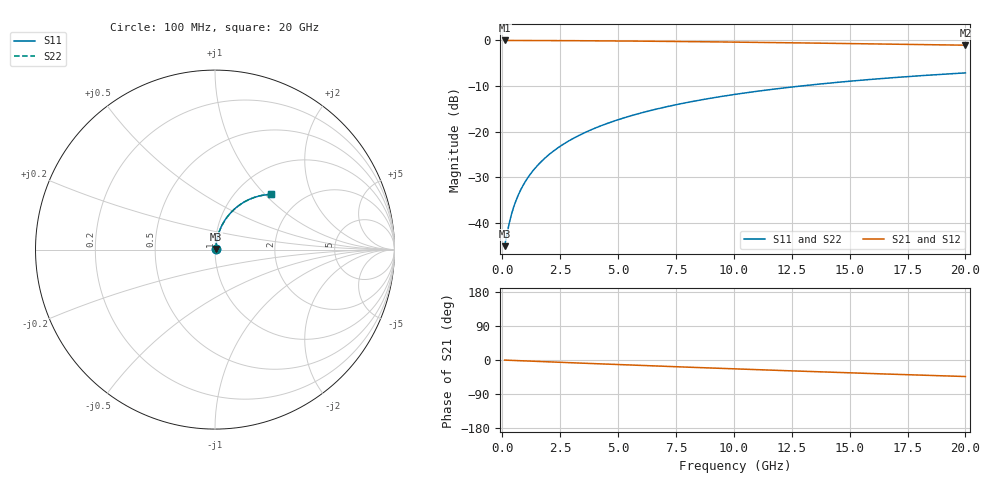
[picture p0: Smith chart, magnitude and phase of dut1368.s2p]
! Touchstone file exported from HFSS 2026.1.0
!  File:  C:/ffzhzh/LocalFiles/Ansys_Project_Files/temp_train_BSMRDL_1368_1783179318_18472.aedt
!  Generated:  11:36:30 PM Jul  4, 2026
!  Design:  BSMRDL
!  Project:  temp_train_BSMRDL_1368_1783179318_18472
! Variables:
!  h_bsmrdl = 4.33um
!  h_ox = 20um
!  h_rdl = 5um
!  h_sub = 80um
!  h_tmrdl = 5um
!  h_tsv = 80um
!  h_via = 3um
!  l_bsmrdl = 632.86um
!  l_sub = 1032.86um
!  l_tmrdl = 200um
!  m_sub = 200um
!  pitch = 34.94um
!  r_tsv = 6um
!  s_tmrdl = 10um
!  w_bsmrdl = 10.97um
!  w_sub = 500um
!  w_tmrdl = 12um
!  x_tsv_center1 = 206um
!  x_tsv_center2 = 849.83um
!  x_tsv_center3 = 1061.83um
!  x_tsv_center4 = 1705.66um
!  x_tsv_center5 = 1917.66um
!  x_tsv_center6 = 2561.49um
# GHz S MA R 50.000000
! Terminal data exported
! Port[1] = BSM_RDL1_1_T1
! Port[2] = BSM_RDL1_1_T2
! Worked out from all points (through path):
!   200 points, 100 MHz to 20 GHz, reference 50 ohm
!   highest |S21| = -0.04 dB at 100 MHz (marker M1); lowest = -1.1 dB at 20 GHz (marker M2)
!   group delay of S21, straight-line fit = 6.06 ps
!   lowest |S11| = -45.1 dB at 100 MHz (marker M3), VSWR 1.01, Z = 50.5 + j0.291 ohm
!   |S11| at or under -10 dB: start of sweep to 12.93 GHz
!   |S22| runs from -45.1 to -7.2 dB; largest |S21 - S12| = 3.3e-15
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0.1  0.005554 31.3  0.9953 -0.3  0.9953 -0.3  0.005554 31.3
! Gamma 0 0 0 0
! Port Impedance 50 0 50 0
0.2  0.007519 49.8  0.9952 -0.5  0.9952 -0.5  0.007519 49.8
0.3  0.009923 59.7  0.9951 -0.7  0.9951 -0.7  0.009923 59.7
0.4  0.01249 65.4  0.9949 -1.0  0.9949 -1.0  0.01249 65.4
0.5  0.01511 69.0  0.9948 -1.2  0.9948 -1.2  0.01511 69.0
0.6  0.01776 71.5  0.9947 -1.5  0.9947 -1.5  0.01776 71.5
0.8  0.02311 74.6  0.9944 -2.0  0.9944 -2.0  0.02311 74.6
1.1  0.03117 77.1  0.994 -2.7  0.994 -2.7  0.03117 77.1
1.3  0.03657 77.9  0.9938 -3.2  0.9938 -3.2  0.03657 77.9
1.6  0.04469 78.6  0.9933 -3.9  0.9933 -3.9  0.04469 78.6
2.1  0.05821 78.9  0.9923 -5.1  0.9923 -5.1  0.05821 78.9
2.7  0.07437 78.5  0.9909 -6.6  0.9909 -6.6  0.07437 78.5
3.5  0.0957 77.3  0.9885 -8.5  0.9885 -8.5  0.0957 77.3
4.2  0.1141 76.1  0.9859 -10.1  0.9859 -10.1  0.1141 76.1
5  0.1348 74.5  0.9827 -12.0  0.9827 -12.0  0.1348 74.5
5.9  0.1576 72.6  0.9785 -14.1  0.9785 -14.1  0.1576 72.6
6.8  0.1798 70.7  0.974 -16.2  0.974 -16.2  0.1798 70.7
8.3  0.2157 67.5  0.9656 -19.6  0.9656 -19.6  0.2157 67.5
10.1  0.2566 63.8  0.9545 -23.5  0.9545 -23.5  0.2566 63.8
13.4  0.3255 57.0  0.9319 -30.6  0.9319 -30.6  0.3255 57.0
16.7  0.3863 50.6  0.9077 -37.3  0.9077 -37.3  0.3863 50.6
20  0.439 44.4  0.8833 -43.6  0.8833 -43.6  0.439 44.4
